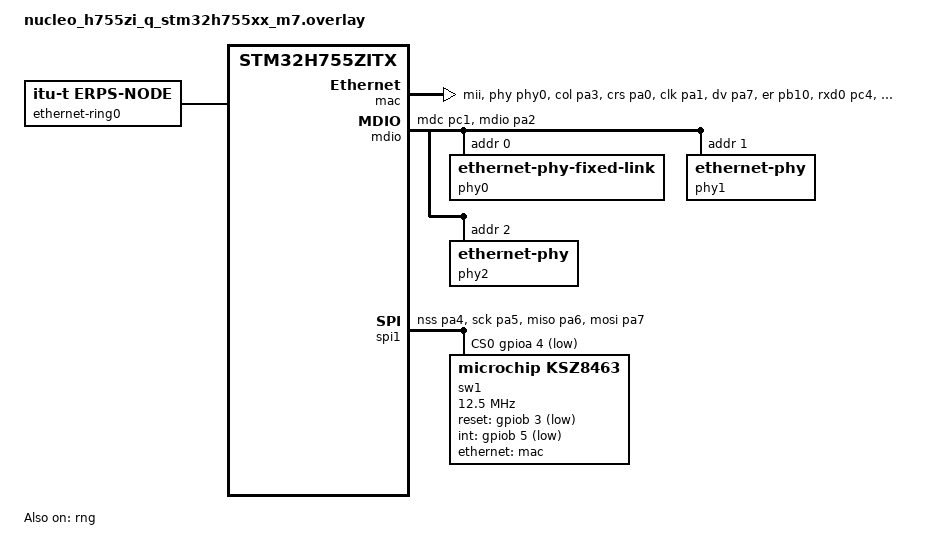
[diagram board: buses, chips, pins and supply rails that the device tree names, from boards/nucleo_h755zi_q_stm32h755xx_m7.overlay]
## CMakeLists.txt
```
# Copyright (c) 2026 Vilhelm Engström
#
# SPDX-License-Identifier: Apache-2.0

cmake_minimum_required(VERSION 3.20.0)

find_package(Zephyr REQUIRED HINTS $ENV{ZEPHYR_BASE})
project(erps_sample)

target_sources(app PRIVATE src/main.c)
```

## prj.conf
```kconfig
CONFIG_NETWORKING=y
CONFIG_NET_DSA=y

CONFIG_SPI=y

CONFIG_ERPS_SHELL=y
```

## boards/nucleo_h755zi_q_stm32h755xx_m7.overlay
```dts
/*
 * Copyright (c) 2026 Vilhelm Engström
 *
 * SPDX-License-Identifier: Apache-2.0
 */

#include <st/h7/stm32h755zitx-pinctrl.dtsi>
#include <zephyr/dt-bindings/pinctrl/stm32-pinctrl.h>
#include <zephyr/dt-bindings/ethernet/dsa_tag_proto.h>

/ {
	ethernet-ring0 {
		compatible = "itu-t,erps-node";

		/* Use switch port 1 as RPL */
		itu-t,ring-protection-link = <&sw1_port1>;

		/* Second switch port is normal link */
		itu-t,ring-links = <&sw1_port2>;

		/* We're the RPL owner */
		itu-t,rpl-owner;

		/* This ring as ID 1. Must match value set for ALL nodes involved */
		itu-t,ring-id = <1>;
	};
};

&mac {
	pinctrl-0 = <
		&eth_mii_col_pa3
		&eth_mii_crs_pa0
		&eth_mii_rx_clk_pa1
		&eth_mii_rx_dv_pa7
		&eth_mii_rx_er_pb10
		&eth_mii_rxd0_pc4
		&eth_mii_rxd1_pc5
		&eth_mii_rxd2_pb0
		&eth_mii_rxd3_pb1
		&eth_mii_tx_clk_pc3
		&eth_mii_tx_en_pb11
		&eth_mii_txd0_pb12
		&eth_mii_txd1_pb13
		&eth_mii_txd2_pc2
		&eth_mii_txd3_pb8
		&eth_mii_tx_er_pb2
	>;
	pinctrl-names = "default";

	phy-handle = <&phy0>;

	/* KSZ8463MLI uses MII */
	phy-connection-type = "mii";

	status = "okay";
};

&mdio {
	pinctrl-0 = <
		&eth_mdc_pc1
		&eth_mdio_pa2
	>;
	pinctrl-names = "default";

	status = "okay";

	/* PHY for CPU port */
	phy0: ethernet-phy@0 {
		/* Know the capabilities of both the MAC transceiver and
		 * the switch, no sense attempting to negotiate speeds
		 */
		compatible = "ethernet-phy-fixed-link";

		/* KSZ8463 capped at 100Mbps, Full-Duplex */
		default-speeds = "100BASE Full-Duplex";

		reg = <0>;
		status = "okay";
	};

	/* PHY for user port 1 */
	phy1: ethernet-phy@1 {
		compatible = "ethernet-phy";
		reg = <1>;
		status = "okay";
	};

	/* PHY for user port 2 */
	phy2: ethernet-phy@2 {
		compatible = "ethernet-phy";
		reg = <2>;
		status = "okay";
	};
};


&pinctrl {
	eth_mdc_pc1: eth_mdc_pc1 {
		pinmux = <
			STM32_PINMUX('C', 1, AF11) /* ETH_MDC */
		>;
	};

	eth_mdio_pa2: eth_mdio_pa2 {
		pinmux = <
			STM32_PINMUX('A', 2, AF11) /* ETH_MDIO */
		>;
	};

	eth_mii_col_pa3: eth_mii_col_pa3 {
		pinmux = <
			STM32_PINMUX('A', 3, AF11) /* ETH_MII_COL */
		>;
	};

	eth_mii_crs_pa0: eth_mii_crs_pa0 {
		pinmux = <
			STM32_PINMUX('A', 0, AF11) /* ETH_MII_CRS */
		>;
	};

	eth_mii_rx_clk_pa1: eth_mii_rx_clk_pa1 {
		pinmux = <
			STM32_PINMUX('A', 1, AF11) /* ETH_MII_RX_CLK */
		>;
	};

	eth_mii_rx_dv_pa7: eth_mii_rx_dv_pa7 {
		pinmux = <
			STM32_PINMUX('A', 7, AF11) /* ETH_MII_RX_DV */
		>;
	};

	eth_mii_rx_er_pb10: eth_mii_rx_er_pb10 {
		pinmux = <
			STM32_PINMUX('B', 10, AF11) /* ETH_MII_RX_ER */
		>;
	};

	eth_mii_rxd0_pc4: eth_mii_rxd0_pc4 {
		pinmux = <
			STM32_PINMUX('C', 4, AF11) /* ETH_MII_RXD0 */
		>;
	};

	eth_mii_rxd1_pc5: eth_mii_rxd1_pc5 {
		pinmux = <
			STM32_PINMUX('C', 5, AF11) /* ETH_MII_RXD1 */
		>;
	};

	eth_mii_rxd2_pb0: eth_mii_rxd2_pb0 {
		pinmux = <
			STM32_PINMUX('B', 0, AF11) /* ETH_MII_RXD2 */
		>;
	};

	eth_mii_rxd3_pb1: eth_mii_rxd3_pb1 {
		pinmux = <
			STM32_PINMUX('B', 1, AF11) /* ETH_MII_RXD3 */
		>;
	};

	eth_mii_tx_clk_pc3: eth_mii_tx_clk_pc3 {
		pinmux = <
			STM32_PINMUX('C', 3, AF11) /* ETH_MII_TX_CLK */
		>;
	};

	eth_mii_tx_en_pb11: eth_mii_tx_en_pb11 {
		pinmux = <
			STM32_PINMUX('B', 11, AF11) /* ETH_MII_TX_EN */
		>;
	};

	eth_mii_tx_er_pb2: eth_mii_tx_er_pb2 {
		pinmux = <
			STM32_PINMUX('B', 2, AF11) /* ETH_TX_ER */
		>;
	};

	eth_mii_txd0_pb12: eth_mii_txd0_pb12 {
		pinmux = <
			STM32_PINMUX('B', 12, AF11) /* ETH_MII_TXD0 */
		>;
	};

	eth_mii_txd1_pb13: eth_mii_txd1_pb13 {
		pinmux = <
			STM32_PINMUX('B', 13, AF11) /* ETH_MII_TXD1 */
		>;
	};

	eth_mii_txd2_pc2: eth_mii_txd2_pc2 {
		pinmux = <
			STM32_PINMUX('C', 2, AF11) /* ETH_MII_TXD2 */
		>;
	};

	eth_mii_txd3_pb8: eth_mii_txd3_pb8 {
		pinmux = <
			STM32_PINMUX('B', 8, AF11) /* ETH_MII_TXD3 */
		>;
	};

	spi1_nss_pa4: spi1_nss_pa4 {
		pinmux = <
			STM32_PINMUX('A', 4, AF5) /* SPI1_NSS */
		>;
	};

	spi1_sck_pa5: spi1_sck_pa5 {
		pinmux = <
			STM32_PINMUX('A', 5, AF5) /* SPI1_SCK */
		>;
	};

	spi1_miso_pa6: spi1_miso_pa6 {
		pinmux = <
			STM32_PINMUX('A', 6, AF5) /* SPI1_MISO */
		>;
	};

	spi1_mosi_pa7: spi1_mosi_pa7 {
		pinmux = <
			STM32_PINMUX('A', 7, AF5) /* SPI1_MOSI */
		>;
	};

	sw1_rst_pb3: sw1_rst_pb3 {
		pinmux = <
			STM32_PINMUX('B', 3, GPIO) /* GPIO */
		>;
	};

	sw1_irq_pb5: sw1_irq_pb5 {
		pinmux = <
			STM32_PINMUX('B', 5, GPIO) /* GPIO */
		>;
	};
};

/* For sys_rand_get */
&rng {
	status = "okay";
};

/* Switch connected to SPI bus 1 */
&spi1 {
	cs-gpios = <&gpioa 4 GPIO_ACTIVE_LOW>;

	pinctrl-0 = <
		&spi1_nss_pa4
		&spi1_sck_pa5
		&spi1_miso_pa6
		&spi1_mosi_pa7
	>;
	pinctrl-names = "default";

	sw1: ethernet-switch@0 {
		compatible = "microchip,ksz8463";

		/* Chip-select 0 */
		reg = <0>;

		#address-cells = <1>;
		#size-cells = <0>;

		pinctrl-0 = <
			&sw1_rst_pb3
			&sw1_irq_pb5
		>;
		pinctrl-names = "default";

		spi-max-frequency = <DT_FREQ_K(12500)>;

		/* Hardware reset is active low */
		reset-gpios = <&gpiob 3 GPIO_ACTIVE_LOW>;

		/* Interrupt output is active low */
		int-gpios = <&gpiob 5 GPIO_ACTIVE_LOW>;

		/* Enable IGMP snooping */
		microchip,igmp-snoop-en;

		/* Enable MLD snooping */
		microchip,mld-snoop-en;

		status = "okay";

		/* User port 1 */
		sw1_port1: port@0 {
			compatible = "zephyr,dsa-port";
			reg = <0>;

			phy-handle = <&phy1>;

			/* Use random MAC */
			zephyr,random-mac-address;

			/* Poll for auto-negotiation completion twice a second */
			microchip,autoneg-poll-interval = <500>;
			/* Give up on auto-negotiation after 4 seconds */
			microchip,autoneg-timeout = <4000>;

			status = "okay";
		};

		/* User port 2 */
		sw1_port2: port@1 {
			compatible = "zephyr,dsa-port";
			reg = <1>;

			phy-handle = <&phy2>;

			zephyr,random-mac-address;


			/* Poll for auto-negotiation completion once a second */
			microchip,autoneg-poll-interval = <1000>;
			/* Give up on auto-negotiation after 5 seconds */
			microchip,autoneg-timeout = <5000>;

			status = "okay";
		};

		/* CPU port */
		sw1_port3: port@2 {
			compatible = "zephyr,dsa-port";
			reg = <2>;

			/* Port is connected to the STM MAC */
			ethernet = <&mac>;

			/* KSZ8463MLI uses MII */
			phy-connection-type = "mii";

			/* Note that the phy-handle property is not required
			 * in the CPU node. The DSA core will use to one associated
			 * with the node referred to by the ethernet phandle
			 */

			/* Enable tail tagging */
			dsa-tag-protocol = <DSA_TAG_PROTO_KSZ8463>;

			status = "okay";
		};
	};
};
```

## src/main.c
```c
/*
 * Copyright (c) 2026 Vilhelm Engström
 *
 * SPDX-License-Identifier: Apache-2.0
 */

int main(void)
{
	return 0;
}
```
